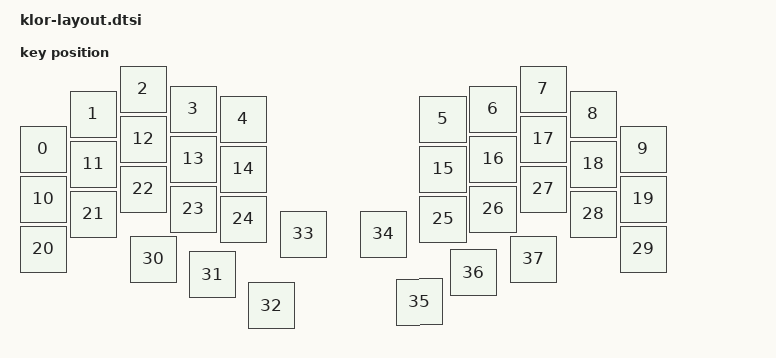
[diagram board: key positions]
#include <physical_layouts.dtsi>

/ {
    klor_physical_layout: physical_layout_0 {
      compatible = "zmk,physical-layout";
      display-name = "saegewerk";
      keys  //                     w   h    x    y     rot    rx    ry
            = <&key_physical_attrs 100 100    0  120       0     0     0>
            , <&key_physical_attrs 100 100  100   50       0     0     0>
            , <&key_physical_attrs 100 100  200    0       0     0     0>
            , <&key_physical_attrs 100 100  300   40       0     0     0>
            , <&key_physical_attrs 100 100  400   60       0     0     0>
            , <&key_physical_attrs 100 100  800   60       0     0     0>
            , <&key_physical_attrs 100 100  900   40       0     0     0>
            , <&key_physical_attrs 100 100 1000    0       0     0     0>
            , <&key_physical_attrs 100 100 1100   50       0     0     0>
            , <&key_physical_attrs 100 100 1200  120       0     0     0>
            , <&key_physical_attrs 100 100    0  220       0     0     0>
            , <&key_physical_attrs 100 100  100  150       0     0     0>
            , <&key_physical_attrs 100 100  200  100       0     0     0>
            , <&key_physical_attrs 100 100  300  140       0     0     0>
            , <&key_physical_attrs 100 100  400  160       0     0     0>
            , <&key_physical_attrs 100 100  800  160       0     0     0>
            , <&key_physical_attrs 100 100  900  140       0     0     0>
            , <&key_physical_attrs 100 100 1000  100       0     0     0>
            , <&key_physical_attrs 100 100 1100  150       0     0     0>
            , <&key_physical_attrs 100 100 1200  220       0     0     0>
            , <&key_physical_attrs 100 100    0  320       0     0     0>
            , <&key_physical_attrs 100 100  100  250       0     0     0>
            , <&key_physical_attrs 100 100  200  200       0     0     0>
            , <&key_physical_attrs 100 100  300  240       0     0     0>
            , <&key_physical_attrs 100 100  400  260       0     0     0>
            , <&key_physical_attrs 100 100  800  260       0     0     0>
            , <&key_physical_attrs 100 100  900  240       0     0     0>
            , <&key_physical_attrs 100 100 1000  200       0     0     0>
            , <&key_physical_attrs 100 100 1100  250       0     0     0>
            , <&key_physical_attrs 100 100 1200  320       0     0     0>
            , <&key_physical_attrs 100 100  220  340       0     0     0>
            , <&key_physical_attrs 100 100  340  370      15     0     0>
            , <&key_physical_attrs 100 100  460  430      30     0     0>
            , <&key_physical_attrs 100 100  520  290       0     0     0>
            , <&key_physical_attrs 100 100  680  290       0     0     0>
            , <&key_physical_attrs 100 100  750  430   (-30)     0     0>
            , <&key_physical_attrs 100 100  860  370   (-15)     0     0>
            , <&key_physical_attrs 100 100  980  340       0     0     0>
            ;
    };
};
